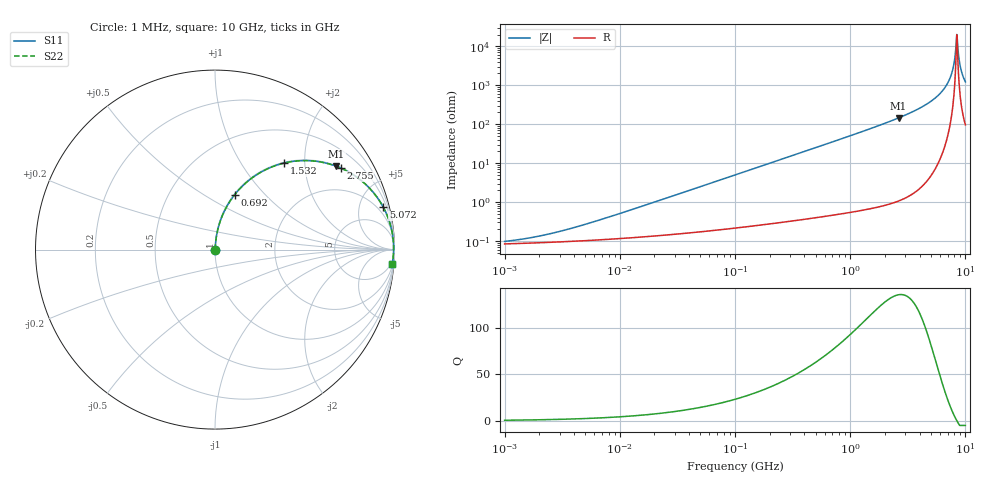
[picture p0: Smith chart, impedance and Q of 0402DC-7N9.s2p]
# MHz  S  MA  R  50
!Freq  MagS11  AngS11  MagS21  AngS21  MagS12  AngS12  MagS22  AngS22
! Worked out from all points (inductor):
!   801 points, 1 MHz to 10 GHz, reference 50 ohm
!   read as one part in series: L = 7.9 nH near 6.532 MHz
!   highest Q = 135 at 2.631 GHz (marker M1), where L = 8.75 nH
!   self-resonance near 8.418 GHz
!   S11 on the Smith chart (normalised r, x): 1 MHz: 1.00, +0.00; 692 MHz: 1.01, +0.69; 1.532 GHz: 1.01, +1.57; 2.755 GHz: 1.02, +3.06; 5.072 GHz: 1.10, +7.89; 10 GHz: 3, -24
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1  0.0009792 30.4  0.9992 -0.0  0.9992 -0.0  0.0009792 30.4
2.089368  0.001378 48.7  0.9991 -0.1  0.9991 -0.1  0.001378 48.7
4.67769  0.002531 66.3  0.999 -0.1  0.999 -0.1  0.002531 66.3
21.6303  0.01081 82.1  0.9986 -0.6  0.9986 -0.6  0.01081 82.1
100.0216  0.04953 84.7  0.9966 -2.8  0.9966 -2.8  0.04953 84.7
467.8699  0.2261 76.0  0.9704 -13.1  0.9704 -13.1  0.2261 76.0
692.043  0.3255 70.2  0.9412 -19.0  0.9412 -19.0  0.3255 70.2
1531.614  0.6155 51.5  0.7828 -38.0  0.7828 -38.0  0.6155 51.5
2163.497  0.7516 40.8  0.6538 -48.7  0.6538 -48.7  0.7516 40.8
2631.239  0.8198 34.5  0.5666 -55.1  0.5666 -55.1  0.8198 34.5
2755.251  0.8344 33.0  0.545 -56.6  0.545 -56.6  0.8344 33.0
3847.406  0.921 22.5  0.3819 -67.1  0.3819 -67.1  0.921 22.5
5071.934  0.9664 14.2  0.245 -75.1  0.245 -75.1  0.9664 14.2
6168.472  0.9853 8.6  0.1497 -80.1  0.1497 -80.1  0.9853 8.6
7082.399  0.9926 4.8  0.08332 -82.5  0.08332 -82.5  0.9926 4.8
7676.832  0.9947 2.6  0.04496 -81.9  0.04496 -81.9  0.9947 2.6
8131.735  0.9952 1.0  0.01796 -74.0  0.01796 -74.0  0.9952 1.0
8417.515  0.9951 0.1  0.004967 -10.7  0.004967 -10.7  0.9951 0.1
8713.339  0.9947 -0.9  0.01632 70.8  0.01632 70.8  0.9947 -0.9
9019.56  0.9941 -1.8  0.03235 78.5  0.03235 78.5  0.9941 -1.8
9336.542  0.9931 -2.8  0.04864 80.5  0.04864 80.5  0.9931 -2.8
10000  0.9903 -4.6  0.08119 80.9  0.08119 80.9  0.9903 -4.6
